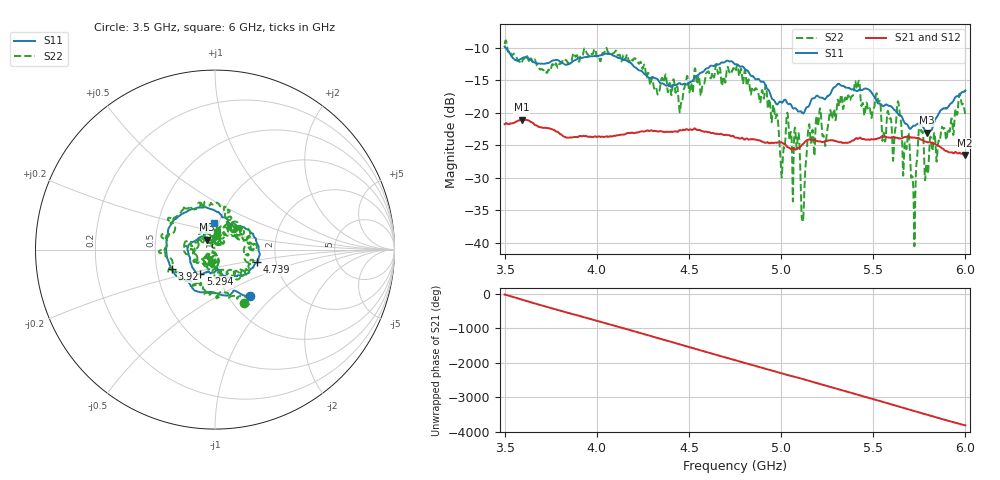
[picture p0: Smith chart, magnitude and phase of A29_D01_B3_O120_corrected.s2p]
! Created with skrf 1.9.0 (http://scikit-rf.org).
# Hz S RI R 50.0
!freq ReS11 ImS11 ReS21 ImS21 ReS12 ImS12 ReS22 ImS22
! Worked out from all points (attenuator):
!   1601 points, 3.5 GHz to 6 GHz, reference 50 ohm
!   highest |S21| = -21.08 dB at 3.592 GHz (marker M1); lowest = -26.5 dB at 5.998 GHz (marker M2)
!   lowest |S11| = -23.1 dB at 5.791 GHz (marker M3), VSWR 1.15, Z = 45.6 + j5.07 ohm
!   |S11| at or under -10 dB: 3.505 GHz to end of sweep
!   |S22| runs from -40.5 to -8.9 dB; largest |S21 - S12| = 0.0012
!   S11 on the Smith chart (normalised r, x): 3.5 GHz: 1.25, -0.72; 3.92 GHz: 0.60, -0.14; 4.739 GHz: 1.59, -0.24; 5.294 GHz: 0.82, -0.23; 6 GHz: 0.94, +0.28
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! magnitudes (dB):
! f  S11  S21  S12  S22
! 3.5 GHz  -9.9  -21.8  -21.8  -9.4
! 3.592 GHz  -11.7  -21.1  -21.1  -12.4
! 3.917 GHz  -11.6  -23.6  -23.6  -11.1
! 3.92 GHz  -11.6  -23.6  -23.6  -11.1
! 4.334 GHz  -15.0  -22.9  -22.9  -17.0
! 4.739 GHz  -12.3  -23.6  -23.6  -13.2
! 4.75 GHz  -12.6  -23.8  -23.8  -13.6
! 4.925 GHz  -16.3  -24.6  -24.6  -18.1
! 5.005 GHz  -18.4  -24.6  -24.6  -29.7
! 5.086 GHz  -19.6  -25.6  -25.6  -25.4
! 5.117 GHz  -20.1  -24.9  -24.8  -36.4
! 5.144 GHz  -19.1  -24.2  -24.2  -23.9
! 5.167 GHz  -17.9  -24.2  -24.1  -23.2
! 5.294 GHz  -16.0  -24.4  -24.3  -20.9
! 5.412 GHz  -16.7  -24.0  -24.0  -16.4
! 5.584 GHz  -19.0  -23.8  -23.8  -20.3
! 5.641 GHz  -20.4  -24.0  -24.0  -19.3
! 5.717 GHz  -22.0  -23.9  -23.8  -31.5
! 5.756 GHz  -21.9  -24.1  -24.1  -22.1
! 5.791 GHz  -23.1  -24.5  -24.5  -27.9
! 5.998 GHz  -16.7  -26.5  -26.4  -20.1
! 6 GHz  -16.6  -26.5  -26.5  -20.2
